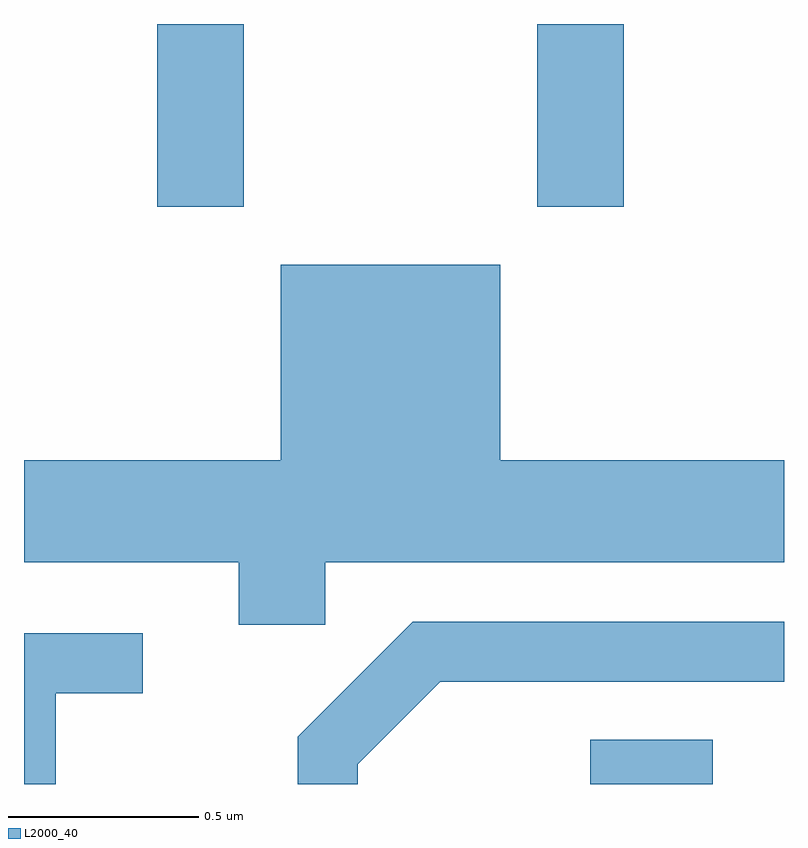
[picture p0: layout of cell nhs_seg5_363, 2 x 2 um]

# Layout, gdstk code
import gdstk
lib = gdstk.Library(unit=1e-6, precision=1e-09)
def R(c, l, rs):  # rectangles x0, y0, x1, y1
    for r in rs: c.add(gdstk.rectangle(r[:2], r[2:], *l))
def P(c, l, *ps):  # polygons
    for p in ps: c.add(gdstk.Polygon(p, *l))
L2000_40 = (2000, 40)

nhs_seg5_363 = lib.new_cell('nhs_seg5_363')
R(nhs_seg5_363, L2000_40, [(189.101,1485.072,189.423,1485.189), (187.961,1486.591,188.189,1487.072), (188.961,1486.591,189.189,1487.072)])
P(nhs_seg5_363, L2000_40, [(188.404,1485.656),(189.611,1485.656),(189.611,1485.924),(188.864,1485.924),(188.864,1486.439),(188.286,1486.439),(188.286,1485.924),(187.611,1485.924),(187.611,1485.656),(188.176,1485.656),(188.176,1485.491),(188.404,1485.491)],
  [(188.489,1485.124),(188.707,1485.341),(189.611,1485.341),(189.611,1485.499),(188.634,1485.499),(188.331,1485.197),(188.331,1485.072),(188.489,1485.072)],
  [(187.694,1485.311),(187.923,1485.311),(187.923,1485.469),(187.611,1485.469),(187.611,1485.072),(187.694,1485.072)])

lib.write_gds('nhs_seg5_363.gds')
